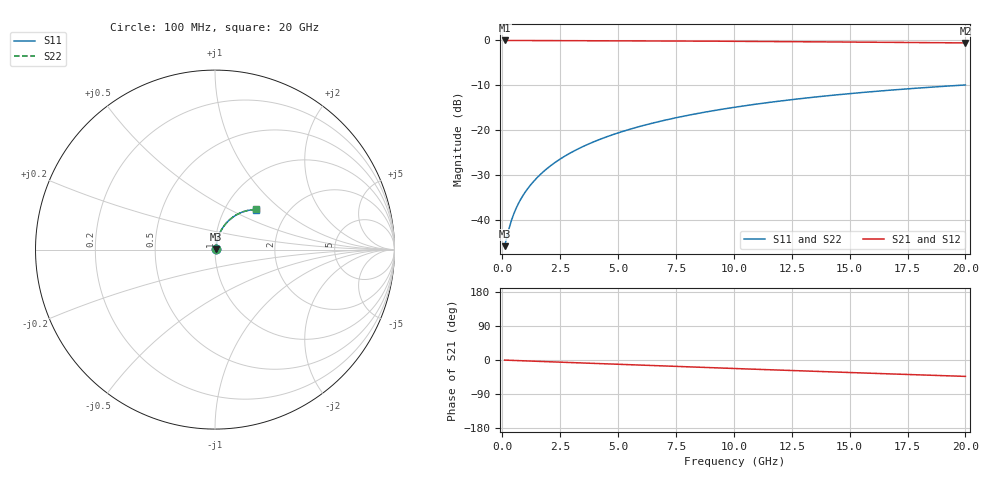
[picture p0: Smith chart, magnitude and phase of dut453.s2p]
! Touchstone file exported from HFSS 2026.1.0
!  File:  C:/ffzhzh/LocalFiles/Ansys_Project_Files/temp_train_TMRDL_453_1783005849_53980.aedt
!  Generated:  11:25:28 PM Jul  2, 2026
!  Design:  TMRDL
!  Project:  temp_train_TMRDL_453_1783005849_53980
! Variables:
!  h_bsmrdl = 2um
!  h_ox = 20um
!  h_rdl = 5um
!  h_sub = 80um
!  h_tmrdl = 2.3um
!  h_tsv = 80um
!  h_via = 3um
!  l_bsmrdl = 300um
!  l_sub = 1073.37um
!  l_tmrdl = 673.37um
!  m_sub = 200um
!  pitch = 40.5um
!  r_tsv = 6um
!  s_tmrdl = 10um
!  w_bsmrdl = 18um
!  w_sub = 500um
!  w_tmrdl = 23.92um
!  x_tsv_center1 = 685.33um
!  x_tsv_center2 = 1003.33um
!  x_tsv_center3 = 1700.62um
!  x_tsv_center4 = 2018.62um
!  x_tsv_center5 = 2715.91um
!  x_tsv_center6 = 3033.91um
# GHz S MA R 50.000000
! Terminal data exported
! Port[1] = TM_RDL1_1_T1
! Port[2] = TM_RDL1_1_T2
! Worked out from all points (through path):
!   200 points, 100 MHz to 20 GHz, reference 50 ohm
!   highest |S21| = -0.04 dB at 100 MHz (marker M1); lowest = -0.6 dB at 20 GHz (marker M2)
!   group delay of S21, straight-line fit = 6.01 ps
!   lowest |S11| = -45.8 dB at 100 MHz (marker M3), VSWR 1.01, Z = 50.5 + j0.224 ohm
!   |S11| at or under -10 dB: start of sweep to 19.79 GHz
!   |S22| runs from -45.8 to -9.9 dB; largest |S21 - S12| = 2.6e-15
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0.1  0.005149 25.6  0.9954 -0.2  0.9954 -0.2  0.005149 25.6
! Gamma 0 0 0 0
! Port Impedance 50 0 50 0
0.3  0.008236 51.7  0.995 -0.7  0.995 -0.7  0.008236 51.7
0.4  0.01003 57.4  0.9947 -1.0  0.9947 -1.0  0.01003 57.4
0.5  0.01183 61.2  0.9945 -1.2  0.9945 -1.2  0.01183 61.2
0.6  0.01362 63.9  0.9942 -1.4  0.9942 -1.4  0.01362 63.9
0.8  0.01717 67.7  0.9939 -1.9  0.9939 -1.9  0.01717 67.7
1  0.02071 70.3  0.9936 -2.3  0.9936 -2.3  0.02071 70.3
1.2  0.02428 72.1  0.9934 -2.8  0.9934 -2.8  0.02428 72.1
1.4  0.02786 73.4  0.9932 -3.2  0.9932 -3.2  0.02786 73.4
1.7  0.03328 74.7  0.9929 -3.9  0.9929 -3.9  0.03328 74.7
2.2  0.04239 75.8  0.9924 -5.0  0.9924 -5.0  0.04239 75.8
2.8  0.05338 76.2  0.9917 -6.4  0.9917 -6.4  0.05338 76.2
3.5  0.0662 75.9  0.9908 -8.0  0.9908 -8.0  0.0662 75.9
4.2  0.07897 75.2  0.9896 -9.6  0.9896 -9.6  0.07897 75.2
5  0.09346 74.0  0.9881 -11.4  0.9881 -11.4  0.09346 74.0
5.9  0.1096 72.5  0.9862 -13.4  0.9862 -13.4  0.1096 72.5
6.8  0.1255 70.9  0.984 -15.4  0.984 -15.4  0.1255 70.9
8.3  0.1513 68.0  0.9798 -18.7  0.9798 -18.7  0.1513 68.0
10.1  0.1812 64.4  0.974 -22.6  0.974 -22.6  0.1812 64.4
13.4  0.2324 57.6  0.9618 -29.7  0.9618 -29.7  0.2323 57.7
16.7  0.2783 51.0  0.9486 -36.6  0.9486 -36.6  0.2783 51.0
20  0.3187 44.5  0.935 -43.3  0.935 -43.3  0.3187 44.5
